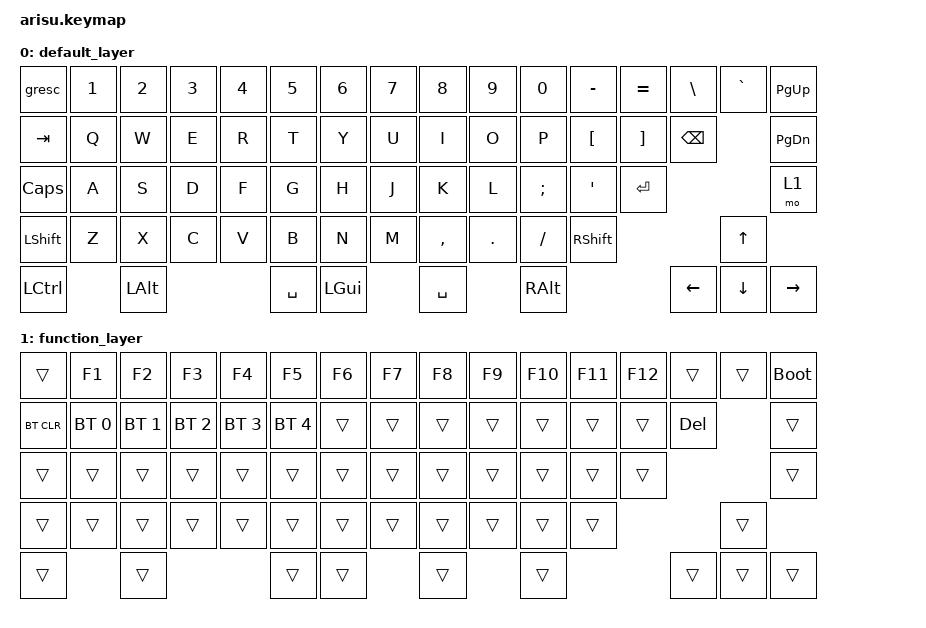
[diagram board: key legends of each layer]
#include <behaviors.dtsi>
#include <dt-bindings/zmk/keys.h>
#include <dt-bindings/zmk/bt.h>
#include <dt-bindings/zmk/rgb.h>

/ {
    keymap {
        compatible = "zmk,keymap";

        // Layer 0: Gõ văn bản bình thường
        default_layer {
            bindings = <
&gresc    &kp N1    &kp N2    &kp N3    &kp N4    &kp N5    &kp N6    &kp N7    &kp N8    &kp N9    &kp N0    &kp MINUS &kp EQUAL &kp BSLH  &kp GRAVE &kp PG_UP
&kp TAB   &kp Q     &kp W     &kp E     &kp R     &kp T     &kp Y     &kp U     &kp I     &kp O     &kp P     &kp LBKT  &kp RBKT  &kp BSPC            &kp PG_DN
&kp CLCK  &kp A     &kp S     &kp D     &kp F     &kp G     &kp H     &kp J     &kp K     &kp L     &kp SEMI  &kp SQT   &kp RET                       &mo 1
&kp LSHFT &kp Z     &kp X     &kp C     &kp V     &kp B     &kp N     &kp M     &kp COMMA &kp DOT   &kp FSLH  &kp RSHFT                     &kp UP
&kp LCTRL           &kp LALT                      &kp SPACE &kp LGUI            &kp SPACE           &kp RALT                      &kp LEFT  &kp DOWN  &kp RIGHT
            >;
        };

        // Layer 1: Các phím chức năng, Bluetooth, Reset
        function_layer {
            bindings = <
&trans     &kp F1       &kp F2       &kp F3       &kp F4       &kp F5       &kp F6       &kp F7       &kp F8       &kp F9       &kp F10      &kp F11      &kp F12      &trans  &trans  &bootloader
&bt BT_CLR &bt BT_SEL 0 &bt BT_SEL 1 &bt BT_SEL 2 &bt BT_SEL 3 &bt BT_SEL 4 &trans       &trans       &trans       &trans       &trans       &trans       &trans       &kp DEL         &trans
&trans     &trans       &trans       &trans       &trans       &trans       &trans       &trans       &trans       &trans       &trans       &trans       &trans                       &trans
&trans     &trans       &trans       &trans       &trans       &trans       &trans       &trans       &trans       &trans       &trans       &trans                            &trans
&trans                  &trans                                 &trans       &trans                    &trans                    &trans                            &trans  &trans  &trans
            >;
        };
    };
};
